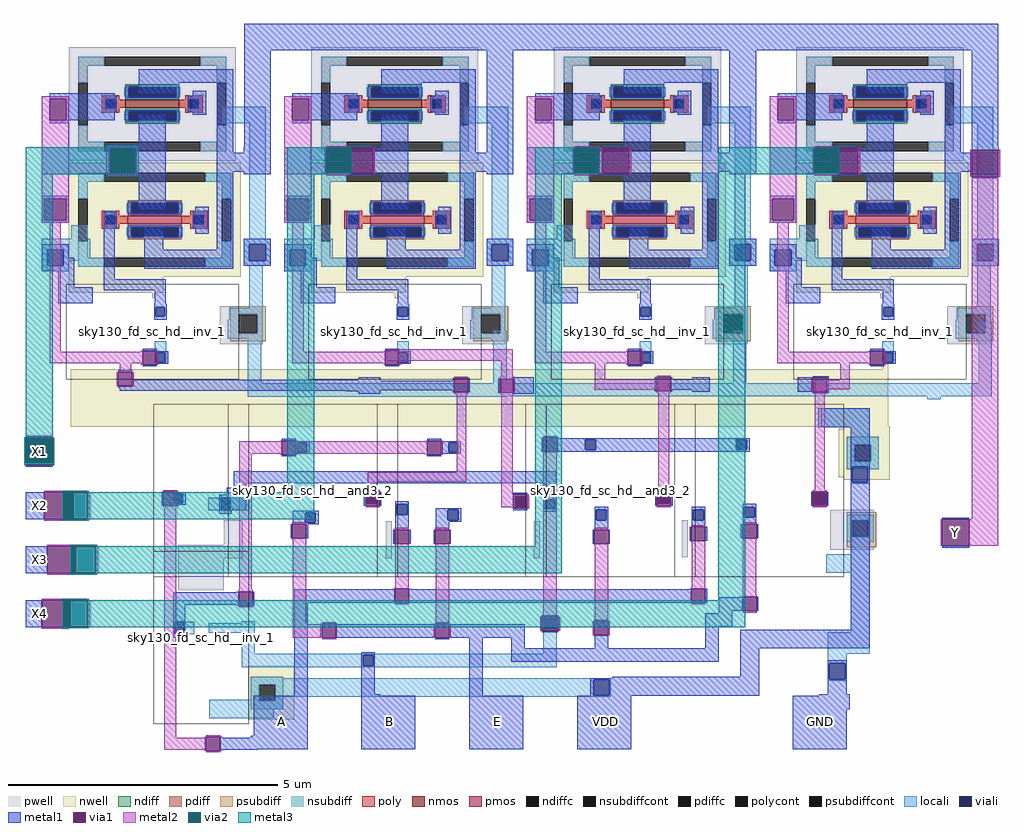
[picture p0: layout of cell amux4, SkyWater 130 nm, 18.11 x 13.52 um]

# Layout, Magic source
magic
tech sky130A
magscale 1 2
<< nwell >>
rect 3980 -744 4000 -720
rect 968 -956 4000 -744
rect 3980 -970 4000 -956
<< locali >>
rect 1625 -795 1675 -630
rect 2535 -795 2585 -601
rect 1625 -796 2585 -795
rect 3426 -796 3474 -600
rect 4336 -796 4384 -568
rect 1625 -844 4384 -796
rect 1625 -845 2585 -844
rect 4145 -855 4195 -844
<< metal1 >>
rect 1611 440 4409 539
rect 1611 -19 1710 440
rect 1990 80 2090 86
rect 2511 -19 2610 440
rect 2940 80 3040 86
rect 1990 -26 2090 -20
rect 3410 -20 3510 440
rect 3790 80 3890 86
rect 2940 -26 3040 -20
rect 3790 -26 3890 -20
rect 4310 70 4409 440
rect 4310 -35 4409 -29
rect 1144 -754 1196 -748
rect 1196 -806 2092 -782
rect 1144 -812 2092 -806
rect 1149 -824 2092 -812
rect 1989 -825 2092 -824
rect 800 -1000 900 -994
rect 800 -1106 900 -1100
rect 800 -1300 870 -1200
rect 970 -1300 976 -1200
rect 4201 -1300 4300 -1294
rect 4200 -1399 4201 -1300
rect 4200 -1400 4300 -1399
rect 800 -1500 880 -1400
rect 980 -1500 986 -1400
rect 4201 -1405 4300 -1400
rect 800 -1700 860 -1600
rect 960 -1700 966 -1600
rect 1700 -2100 1800 -2000
rect 2100 -2100 2200 -2000
rect 2500 -2100 2600 -2000
rect 2900 -2100 3000 -2000
rect 3700 -2100 3800 -2000
<< via1 >>
rect 1110 -20 1210 80
rect 1990 -20 2090 80
rect 2940 -20 3040 80
rect 3790 -20 3890 80
rect 4310 -29 4409 70
rect 1144 -806 1196 -754
rect 800 -1100 900 -1000
rect 870 -1300 970 -1200
rect 4201 -1399 4300 -1300
rect 880 -1500 980 -1400
rect 860 -1700 960 -1600
<< metal2 >>
rect 1100 80 1220 90
rect 1915 80 2005 84
rect 2835 80 2925 84
rect 3725 80 3815 84
rect 1100 -20 1110 80
rect 1210 -20 1220 80
rect 1910 75 1990 80
rect 1910 -15 1915 75
rect 1910 -20 1990 -15
rect 2090 -20 2096 80
rect 2830 75 2940 80
rect 2830 -15 2835 75
rect 2925 -15 2940 75
rect 2830 -20 2940 -15
rect 3040 -20 3046 80
rect 3720 75 3790 80
rect 3720 -15 3725 75
rect 3720 -20 3790 -15
rect 3890 -20 3896 80
rect 1100 -30 1220 -20
rect 1915 -24 2005 -20
rect 2835 -24 2925 -20
rect 3725 -24 3815 -20
rect 4304 -29 4310 70
rect 4409 -29 4415 70
rect 1149 -754 1191 -699
rect 2139 -711 2607 -669
rect 1138 -806 1144 -754
rect 1196 -806 1202 -754
rect 2565 -891 2607 -711
rect 2911 -781 2950 -691
rect 2911 -820 3187 -781
rect 3822 -782 3858 -692
rect 3148 -879 3187 -820
rect 3728 -818 3858 -782
rect 3728 -868 3764 -818
rect 800 -1000 900 -991
rect 794 -1100 800 -1000
rect 900 -1100 906 -1000
rect 870 -1200 970 -1194
rect 1030 -1300 1039 -1200
rect 4310 -1300 4409 -29
rect 870 -1306 970 -1300
rect 880 -1400 980 -1394
rect 4195 -1399 4201 -1300
rect 4300 -1399 4409 -1300
rect 1060 -1500 1069 -1400
rect 880 -1506 980 -1500
rect 860 -1600 960 -1594
rect 1030 -1700 1039 -1600
rect 860 -1706 960 -1700
<< via2 >>
rect 1115 -15 1205 75
rect 1915 -15 1990 75
rect 1990 -15 2005 75
rect 2835 -15 2925 75
rect 3725 -15 3790 75
rect 3790 -15 3815 75
rect 800 -1090 900 -1000
rect 940 -1300 970 -1200
rect 970 -1300 1030 -1200
rect 970 -1500 980 -1400
rect 980 -1500 1060 -1400
rect 940 -1700 960 -1600
rect 960 -1700 1030 -1600
<< metal3 >>
rect 1100 80 1220 90
rect 800 75 1220 80
rect 800 -15 1115 75
rect 1205 -15 1220 75
rect 800 -20 1220 -15
rect 800 -995 900 -20
rect 1100 -30 1220 -20
rect 1770 75 2010 80
rect 1770 -15 1915 75
rect 2005 -15 2010 75
rect 1770 -20 2010 -15
rect 2690 75 2930 80
rect 2690 -15 2835 75
rect 2925 -15 2930 75
rect 2690 -20 2930 -15
rect 3370 75 3820 80
rect 3370 -15 3725 75
rect 3815 -15 3820 75
rect 3370 -20 3820 -15
rect 795 -1000 905 -995
rect 795 -1090 800 -1000
rect 900 -1090 905 -1000
rect 795 -1095 905 -1090
rect 935 -1200 1035 -1195
rect 1770 -1200 1870 -20
rect 935 -1300 940 -1200
rect 1030 -1300 1870 -1200
rect 935 -1305 1035 -1300
rect 965 -1400 1065 -1395
rect 2690 -1400 2790 -20
rect 965 -1500 970 -1400
rect 1060 -1500 2790 -1400
rect 965 -1505 1065 -1500
rect 935 -1600 1035 -1595
rect 3370 -1600 3470 -20
rect 935 -1700 940 -1600
rect 1030 -1700 3470 -1600
rect 935 -1705 1035 -1700
use decoder2_4  x1
transform 1 0 446 0 1 -754
box 830 -1411 3560 92
use transmition_gate  x2
transform 1 0 -140 0 1 700
box 1000 -1480 1850 -248
use transmition_gate  x3
transform 1 0 760 0 1 700
box 1000 -1480 1850 -248
use transmition_gate  x4
transform 1 0 1660 0 1 700
box 1000 -1480 1850 -248
use transmition_gate  x5
transform 1 0 2560 0 1 700
box 1000 -1480 1850 -248
<< labels >>
flabel metal1 2500 -2100 2600 -2000 0 FreeSans 1600 0 0 0 E
port 3 nsew
flabel metal1 2100 -2100 2200 -2000 0 FreeSans 1600 0 0 0 B
port 2 nsew
flabel metal1 1700 -2100 1800 -2000 0 FreeSans 1600 0 0 0 A
port 1 nsew
flabel metal1 2900 -2100 3000 -2000 0 FreeSans 1600 0 0 0 VDD
port 7 nsew
flabel metal1 3700 -2100 3800 -2000 0 FreeSans 1600 0 0 0 GND
port 8 nsew
flabel via1 800 -1100 900 -1000 0 FreeSans 1600 0 0 0 X1
port 0 nsew
flabel metal1 800 -1300 900 -1200 0 FreeSans 1600 0 0 0 X2
port 4 nsew
flabel metal1 800 -1500 900 -1400 0 FreeSans 1600 0 0 0 X3
port 6 nsew
flabel metal1 800 -1700 900 -1600 0 FreeSans 1600 0 0 0 X4
port 9 nsew
flabel metal1 4200 -1400 4300 -1300 0 FreeSans 1600 0 0 0 Y
port 5 nsew
<< end >>

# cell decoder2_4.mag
magic
tech sky130A
magscale 1 2
<< nwell >>
rect 3304 -76 3334 -16
rect 3390 -210 3560 -200
rect 3370 -390 3560 -210
rect 3390 -400 3560 -390
rect 1180 -1290 1350 -1090
<< pwell >>
rect 3340 -520 3500 -510
rect 1090 -640 1160 -550
rect 920 -690 1160 -640
rect 1690 -690 1712 -554
rect 2240 -690 2262 -554
rect 2788 -686 2810 -550
rect 3340 -650 3510 -520
rect 3340 -660 3500 -650
rect 920 -810 1090 -690
<< psubdiff >>
rect 3400 -550 3510 -520
rect 3400 -610 3420 -550
rect 3480 -610 3510 -550
rect 3400 -650 3510 -610
<< nsubdiff >>
rect 3400 -270 3520 -240
rect 3400 -330 3430 -270
rect 3490 -330 3520 -270
rect 3400 -360 3520 -330
rect 1190 -1160 1310 -1130
rect 1190 -1220 1220 -1160
rect 1280 -1220 1310 -1160
rect 1190 -1250 1310 -1220
<< psubdiffcont >>
rect 3420 -610 3480 -550
<< nsubdiffcont >>
rect 3430 -330 3490 -270
rect 1220 -1220 1280 -1160
<< locali >>
rect 3295 -205 3485 -135
rect 3415 -240 3485 -205
rect 3400 -270 3520 -240
rect 3400 -330 3430 -270
rect 3490 -330 3520 -270
rect 3400 -351 3520 -330
rect 3400 -360 3421 -351
rect 3415 -409 3421 -360
rect 3479 -360 3520 -351
rect 3479 -409 3485 -360
rect 3415 -415 3485 -409
rect 1032 -513 1079 -467
rect 1113 -513 1183 -467
rect 3400 -550 3500 -530
rect 3400 -610 3420 -550
rect 3480 -610 3500 -550
rect 3400 -630 3500 -610
rect 3415 -675 3485 -630
rect 3325 -745 3485 -675
rect 941 -973 980 -927
rect 1155 -932 1205 -925
rect 1033 -967 1205 -932
rect 1155 -1045 1205 -967
rect 2275 -1045 2325 -953
rect 3415 -965 3485 -745
rect 1155 -1051 2325 -1045
rect 1155 -1089 1606 -1051
rect 1644 -1089 2325 -1051
rect 1155 -1095 2325 -1089
rect 3330 -1045 3485 -965
rect 3330 -1081 3400 -1045
rect 1190 -1135 1310 -1130
rect 1190 -1141 2525 -1135
rect 1190 -1160 2461 -1141
rect 1190 -1215 1220 -1160
rect 1035 -1220 1220 -1215
rect 1280 -1199 2461 -1160
rect 2519 -1199 2525 -1141
rect 3330 -1139 3336 -1081
rect 3394 -1139 3400 -1081
rect 3330 -1145 3400 -1139
rect 1280 -1205 2525 -1199
rect 1280 -1220 1310 -1205
rect 1035 -1250 1310 -1220
rect 1035 -1285 1275 -1250
<< viali >>
rect 1363 -297 1397 -263
rect 1923 -297 1957 -263
rect 2431 -289 2469 -251
rect 2991 -289 3029 -251
rect 3421 -409 3479 -351
rect 903 -486 937 -452
rect 1079 -513 1113 -467
rect 1621 -489 1661 -449
rect 1391 -559 1429 -521
rect 1731 -529 1769 -491
rect 2170 -500 2210 -460
rect 2283 -507 2317 -473
rect 2702 -489 2742 -449
rect 3280 -490 3320 -450
rect 1921 -549 1959 -511
rect 2471 -549 2509 -511
rect 2831 -549 2869 -511
rect 3021 -539 3059 -501
rect 907 -973 941 -927
rect 2275 -953 2325 -915
rect 1606 -1089 1644 -1051
rect 2461 -1199 2519 -1141
rect 3336 -1139 3394 -1081
<< metal1 >>
rect 1590 -32 1670 -20
rect 1938 -32 1944 -23
rect 1590 -67 1944 -32
rect 1590 -80 1670 -67
rect 1938 -75 1944 -67
rect 1996 -75 2002 -23
rect 2160 -24 2240 -20
rect 2108 -76 2114 -24
rect 2166 -76 2240 -24
rect 2689 -71 2695 -19
rect 2747 -26 2753 -19
rect 3274 -20 3334 -16
rect 2828 -26 2892 -20
rect 2747 -65 2892 -26
rect 2747 -71 2753 -65
rect 2828 -72 2892 -65
rect 3218 -72 3274 -20
rect 3326 -72 3334 -20
rect 2160 -80 2240 -76
rect 3274 -76 3334 -72
rect 3274 -78 3326 -76
rect 3305 -205 3485 -135
rect 1304 -254 1356 -248
rect 1844 -254 1896 -248
rect 1356 -263 1409 -257
rect 1356 -297 1363 -263
rect 1397 -297 1409 -263
rect 1356 -303 1409 -297
rect 1304 -312 1356 -306
rect 1896 -263 1969 -257
rect 1896 -297 1923 -263
rect 1957 -297 1969 -263
rect 2268 -296 2274 -244
rect 2326 -245 2332 -244
rect 2326 -251 3041 -245
rect 2326 -289 2431 -251
rect 2469 -289 2991 -251
rect 3029 -289 3041 -251
rect 2326 -295 3041 -289
rect 2326 -296 2332 -295
rect 1896 -303 1969 -297
rect 1844 -312 1896 -306
rect 3415 -351 3485 -205
rect 1127 -413 2323 -367
rect 1127 -430 1173 -413
rect 859 -496 865 -444
rect 917 -446 923 -444
rect 917 -452 949 -446
rect 937 -486 949 -452
rect 1100 -455 1173 -430
rect 917 -492 949 -486
rect 1073 -467 1173 -455
rect 917 -496 923 -492
rect 1073 -513 1079 -467
rect 1113 -513 1173 -467
rect 1609 -495 1615 -443
rect 1667 -495 1673 -443
rect 2164 -454 2216 -448
rect 1725 -491 1775 -479
rect 1073 -525 1119 -513
rect 1345 -521 1441 -515
rect 1345 -559 1391 -521
rect 1429 -559 1441 -521
rect 1345 -564 1441 -559
rect 1338 -616 1344 -564
rect 1396 -565 1441 -564
rect 1725 -529 1731 -491
rect 1769 -529 1775 -491
rect 1396 -616 1402 -565
rect 1725 -584 1775 -529
rect 1875 -511 1971 -505
rect 1875 -549 1921 -511
rect 1959 -549 1971 -511
rect 2164 -512 2216 -506
rect 2277 -473 2323 -413
rect 3415 -409 3421 -351
rect 3479 -409 3485 -351
rect 2277 -507 2283 -473
rect 2317 -507 2323 -473
rect 2690 -495 2696 -443
rect 2748 -495 2754 -443
rect 2277 -519 2323 -507
rect 2465 -511 2515 -499
rect 1875 -555 1971 -549
rect 2465 -549 2471 -511
rect 2509 -549 2515 -511
rect 1875 -584 1925 -555
rect 2465 -584 2515 -549
rect 2825 -511 2875 -499
rect 2825 -549 2831 -511
rect 2869 -549 2875 -511
rect 2825 -574 2875 -549
rect 3015 -501 3065 -489
rect 3268 -496 3274 -444
rect 3326 -496 3332 -444
rect 3015 -539 3021 -501
rect 3059 -539 3065 -501
rect 3015 -564 3065 -539
rect 1718 -636 1724 -584
rect 1776 -636 1782 -584
rect 1868 -636 1874 -584
rect 1926 -636 1932 -584
rect 2458 -636 2464 -584
rect 2516 -636 2522 -584
rect 2818 -626 2824 -574
rect 2876 -626 2882 -574
rect 3008 -616 3014 -564
rect 3066 -616 3072 -564
rect 1718 -805 1724 -804
rect 1138 -817 1144 -814
rect 901 -863 1144 -817
rect 901 -927 947 -863
rect 1138 -866 1144 -863
rect 1196 -866 1202 -814
rect 1350 -855 1724 -805
rect 901 -973 907 -927
rect 941 -973 947 -927
rect 901 -985 947 -973
rect 1350 -1200 1400 -855
rect 1718 -856 1724 -855
rect 1776 -805 1782 -804
rect 2818 -805 2824 -804
rect 1776 -855 2824 -805
rect 1776 -856 1782 -855
rect 2818 -856 2824 -855
rect 2876 -856 2882 -804
rect 3008 -835 3014 -834
rect 2925 -885 3014 -835
rect 2925 -895 2975 -885
rect 3008 -886 3014 -885
rect 3066 -886 3072 -834
rect 2269 -908 2331 -902
rect 1874 -934 1926 -928
rect 1448 -986 1454 -934
rect 1506 -935 1512 -934
rect 1506 -985 1874 -935
rect 1506 -986 1512 -985
rect 1926 -985 2205 -935
rect 2263 -959 2269 -909
rect 2331 -959 2337 -909
rect 2464 -924 2516 -918
rect 2269 -966 2331 -960
rect 2464 -982 2516 -976
rect 2875 -945 2975 -895
rect 1874 -992 1926 -986
rect 1200 -1350 1400 -1200
rect 1019 -1405 1025 -1353
rect 1077 -1357 1083 -1353
rect 1190 -1357 1400 -1350
rect 1077 -1400 1400 -1357
rect 1600 -1051 1650 -1039
rect 1600 -1089 1606 -1051
rect 1644 -1089 1650 -1051
rect 1600 -1196 1650 -1089
rect 1600 -1200 1669 -1196
rect 2000 -1200 2050 -985
rect 2155 -1025 2205 -985
rect 2465 -1025 2515 -982
rect 2875 -1025 2925 -945
rect 3415 -955 3485 -409
rect 2155 -1075 2925 -1025
rect 3005 -1025 3485 -955
rect 3005 -1130 3075 -1025
rect 2530 -1135 3075 -1130
rect 2449 -1141 3075 -1135
rect 2449 -1199 2461 -1141
rect 2519 -1199 3075 -1141
rect 3330 -1081 3400 -1069
rect 3330 -1139 3336 -1081
rect 3394 -1139 3400 -1081
rect 3330 -1196 3400 -1139
rect 2449 -1200 3075 -1199
rect 3299 -1200 3411 -1196
rect 1600 -1400 1800 -1200
rect 2000 -1400 2200 -1200
rect 2400 -1400 2600 -1200
rect 3200 -1251 3411 -1200
rect 3200 -1400 3400 -1251
rect 1077 -1402 1213 -1400
rect 1077 -1405 1083 -1402
<< via1 >>
rect 1944 -75 1996 -23
rect 2114 -76 2166 -24
rect 2695 -71 2747 -19
rect 3274 -72 3326 -20
rect 1304 -306 1356 -254
rect 1844 -306 1896 -254
rect 2274 -296 2326 -244
rect 865 -452 917 -444
rect 865 -486 903 -452
rect 903 -486 917 -452
rect 865 -496 917 -486
rect 1615 -449 1667 -443
rect 1615 -489 1621 -449
rect 1621 -489 1661 -449
rect 1661 -489 1667 -449
rect 1615 -495 1667 -489
rect 2164 -460 2216 -454
rect 1344 -616 1396 -564
rect 2164 -500 2170 -460
rect 2170 -500 2210 -460
rect 2210 -500 2216 -460
rect 2164 -506 2216 -500
rect 2696 -449 2748 -443
rect 2696 -489 2702 -449
rect 2702 -489 2742 -449
rect 2742 -489 2748 -449
rect 2696 -495 2748 -489
rect 3274 -450 3326 -444
rect 3274 -490 3280 -450
rect 3280 -490 3320 -450
rect 3320 -490 3326 -450
rect 3274 -496 3326 -490
rect 1724 -636 1776 -584
rect 1874 -636 1926 -584
rect 2464 -636 2516 -584
rect 2824 -626 2876 -574
rect 3014 -616 3066 -564
rect 1144 -866 1196 -814
rect 1724 -856 1776 -804
rect 2824 -856 2876 -804
rect 3014 -886 3066 -834
rect 1454 -986 1506 -934
rect 1874 -986 1926 -934
rect 2269 -915 2331 -908
rect 2269 -953 2275 -915
rect 2275 -953 2325 -915
rect 2325 -953 2331 -915
rect 2269 -960 2331 -953
rect 2464 -976 2516 -924
rect 1025 -1405 1077 -1353
<< metal2 >>
rect 1944 -23 1996 -17
rect 1944 -81 1996 -75
rect 2114 -24 2166 -18
rect 1298 -257 1304 -254
rect 1147 -303 1304 -257
rect 865 -444 917 -438
rect 865 -502 917 -496
rect 868 -1356 913 -502
rect 1147 -808 1193 -303
rect 1298 -306 1304 -303
rect 1356 -257 1362 -254
rect 1838 -257 1844 -254
rect 1356 -303 1844 -257
rect 1356 -306 1362 -303
rect 1838 -306 1844 -303
rect 1896 -306 1902 -254
rect 1953 -372 1988 -81
rect 2114 -82 2166 -76
rect 2695 -19 2747 -13
rect 2695 -77 2747 -71
rect 3268 -72 3274 -20
rect 3326 -72 3332 -20
rect 1623 -407 1988 -372
rect 1623 -437 1658 -407
rect 1615 -443 1667 -437
rect 1615 -501 1667 -495
rect 2119 -454 2161 -82
rect 2274 -244 2326 -238
rect 2274 -302 2326 -296
rect 2119 -501 2164 -454
rect 2158 -506 2164 -501
rect 2216 -506 2222 -454
rect 1344 -564 1396 -558
rect 1344 -622 1396 -616
rect 1724 -584 1776 -578
rect 1144 -814 1196 -808
rect 1144 -872 1196 -866
rect 1345 -935 1395 -622
rect 1724 -642 1776 -636
rect 1874 -584 1926 -578
rect 1874 -642 1926 -636
rect 1725 -798 1775 -642
rect 1724 -804 1776 -798
rect 1724 -862 1776 -856
rect 1454 -934 1506 -928
rect 1875 -934 1925 -642
rect 2275 -908 2325 -302
rect 2702 -437 2741 -77
rect 2696 -443 2748 -437
rect 3282 -438 3318 -72
rect 2696 -501 2748 -495
rect 3274 -444 3326 -438
rect 3274 -502 3326 -496
rect 3014 -564 3066 -558
rect 2824 -574 2876 -568
rect 2464 -584 2516 -578
rect 3014 -622 3066 -616
rect 2824 -632 2876 -626
rect 2464 -642 2516 -636
rect 1345 -985 1454 -935
rect 1868 -986 1874 -934
rect 1926 -986 1932 -934
rect 2263 -960 2269 -908
rect 2331 -960 2337 -908
rect 2465 -924 2515 -642
rect 2825 -798 2875 -632
rect 2824 -804 2876 -798
rect 3015 -828 3065 -622
rect 2824 -862 2876 -856
rect 3014 -834 3066 -828
rect 3014 -892 3066 -886
rect 2458 -976 2464 -924
rect 2516 -976 2522 -924
rect 1454 -992 1506 -986
rect 1025 -1353 1077 -1347
rect 868 -1401 1025 -1356
rect 1025 -1411 1077 -1405
use sky130_fd_sc_hd__and3_2  x1 pdks/sky130A/libs.ref/sky130_fd_sc_hd/mag
transform 1 0 1144 0 1 -712
box -38 -48 590 592
use sky130_fd_sc_hd__and3_2  x2
transform 1 0 1696 0 1 -712
box -38 -48 590 592
use sky130_fd_sc_hd__and3_2  x3
transform 1 0 2248 0 1 -712
box -38 -48 590 592
use sky130_fd_sc_hd__and3_2  x4
transform 1 0 2800 0 1 -712
box -38 -48 590 592
use sky130_fd_sc_hd__inv_1  x5 pdks/sky130A/libs.ref/sky130_fd_sc_hd/mag
transform -1 0 1144 0 -1 -712
box -38 -48 314 592
use sky130_fd_sc_hd__inv_1  x6
transform 1 0 868 0 1 -712
box -38 -48 314 592
<< labels >>
flabel metal1 2000 -1400 2200 -1200 0 FreeSans 1600 0 0 0 E
port 6 nsew
flabel metal1 2400 -1400 2505 -1200 0 FreeSans 1600 0 0 0 VDD
port 7 nsew
flabel metal1 3200 -1400 3400 -1200 0 FreeSans 1600 0 0 0 GND
port 8 nsew
flabel metal1 1600 -1400 1800 -1200 0 FreeSans 1600 0 0 0 B
port 1 nsew
flabel metal1 1200 -1400 1400 -1200 0 FreeSans 1600 0 0 0 A
port 0 nsew
flabel metal1 1604 -76 1648 -32 0 FreeSans 400 0 0 0 Y1
port 2 nsew
flabel metal1 2164 -76 2208 -32 0 FreeSans 400 0 0 0 Y2
port 3 nsew
flabel metal1 2834 -66 2878 -22 0 FreeSans 400 0 0 0 Y3
port 4 nsew
flabel metal1 3224 -66 3268 -22 0 FreeSans 400 0 0 0 Y4
port 5 nsew
<< end >>

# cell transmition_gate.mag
magic
tech sky130A
magscale 1 2
<< nwell >>
rect 1100 -1100 1420 -1090
rect 1100 -1160 1450 -1100
rect 1410 -1180 1420 -1160
<< pwell >>
rect 1660 -1350 1820 -1210
<< psubdiff >>
rect 1700 -1240 1830 -1210
rect 1700 -1310 1730 -1240
rect 1800 -1310 1830 -1240
rect 1700 -1340 1830 -1310
<< psubdiffcont >>
rect 1730 -1310 1800 -1240
<< locali >>
rect 1670 -530 1830 -470
rect 1110 -960 1170 -910
rect 1770 -960 1830 -530
rect 1000 -1000 1180 -960
rect 1000 -1060 1020 -1000
rect 1080 -1040 1180 -1000
rect 1750 -980 1850 -960
rect 1750 -1040 1770 -980
rect 1830 -1040 1850 -980
rect 1080 -1060 1100 -1040
rect 1750 -1060 1850 -1040
rect 1000 -1080 1100 -1060
rect 1770 -1215 1820 -1060
rect 1695 -1240 1820 -1215
rect 1695 -1260 1730 -1240
rect 1690 -1310 1730 -1260
rect 1800 -1310 1820 -1240
rect 1690 -1330 1820 -1310
rect 1770 -1335 1820 -1330
rect 1419 -1383 1461 -1339
rect 1419 -1417 1423 -1383
rect 1457 -1417 1461 -1383
rect 1419 -1421 1461 -1417
<< viali >>
rect 1020 -1060 1080 -1000
rect 1770 -1040 1830 -980
rect 1423 -1247 1457 -1213
rect 1423 -1417 1457 -1383
<< metal1 >>
rect 1360 -380 1710 -330
rect 1360 -420 1510 -380
rect 1030 -440 1270 -420
rect 1090 -520 1270 -440
rect 1560 -500 1610 -410
rect 1030 -530 1100 -520
rect 1360 -620 1460 -500
rect 1000 -720 1460 -620
rect 1000 -810 1100 -800
rect 1000 -890 1010 -810
rect 1090 -890 1100 -810
rect 1360 -850 1460 -720
rect 1650 -640 1710 -380
rect 1750 -640 1850 -620
rect 1650 -710 1850 -640
rect 1000 -900 1100 -890
rect 1000 -1000 1100 -980
rect 1000 -1060 1020 -1000
rect 1080 -1030 1100 -1000
rect 1080 -1060 1120 -1030
rect 1000 -1080 1120 -1060
rect 1061 -1140 1120 -1080
rect 1230 -1110 1270 -860
rect 1380 -1000 1450 -920
rect 1570 -940 1620 -840
rect 1650 -1000 1710 -710
rect 1750 -720 1850 -710
rect 1380 -1070 1710 -1000
rect 1750 -980 1850 -960
rect 1750 -1040 1770 -980
rect 1830 -1040 1850 -980
rect 1750 -1060 1850 -1040
rect 1061 -1199 1189 -1140
rect 1230 -1150 1460 -1110
rect 1420 -1201 1460 -1150
rect 1417 -1213 1463 -1201
rect 1417 -1247 1423 -1213
rect 1457 -1247 1463 -1213
rect 1417 -1259 1463 -1247
rect 1374 -1374 1426 -1368
rect 1426 -1383 1469 -1377
rect 1457 -1417 1469 -1383
rect 1426 -1423 1469 -1417
rect 1374 -1432 1426 -1426
<< via1 >>
rect 1030 -520 1090 -440
rect 1010 -890 1090 -810
rect 1374 -1383 1426 -1374
rect 1374 -1417 1423 -1383
rect 1423 -1417 1426 -1383
rect 1374 -1426 1426 -1417
<< metal2 >>
rect 1000 -440 1100 -430
rect 1000 -520 1030 -440
rect 1090 -520 1100 -440
rect 1000 -810 1100 -520
rect 1000 -890 1010 -810
rect 1090 -890 1100 -810
rect 1000 -900 1100 -890
rect 1029 -1379 1071 -900
rect 1368 -1379 1374 -1374
rect 1029 -1421 1374 -1379
rect 1368 -1426 1374 -1421
rect 1426 -1426 1432 -1374
use sky130_fd_sc_hd__inv_1  x1 $PDKPATH/libs.ref/sky130_fd_sc_hd/mag
transform 0 -1 1682 1 0 -1442
box -38 -48 314 592
use sky130_fd_pr__pfet_01v8_7HN6Y2  XM2
transform 0 1 1419 -1 0 -889
box -211 -319 211 319
use sky130_fd_pr__nfet_01v8_34VMYE  XM3
transform 0 1 1410 -1 0 -459
box -211 -310 211 310
<< labels >>
flabel metal1 1000 -720 1100 -620 0 FreeSans 160 0 0 0 IN
port 2 nsew
flabel metal1 1000 -900 1100 -800 0 FreeSans 160 0 0 0 CONTROL
port 0 nsew
flabel metal1 1750 -720 1850 -620 0 FreeSans 160 0 0 0 OUT
port 1 nsew
flabel metal1 1750 -1060 1760 -960 0 FreeSans 160 0 0 0 GND
port 4 nsew
flabel metal1 1000 -1080 1070 -980 0 FreeSans 160 0 0 0 VDD
port 3 nsew
<< end >>

# cell sky130_fd_pr__pfet_01v8_7HN6Y2: kit device sky130_fd_pr__pfet_01v8, w 1.0 l 0.15 m 1 nf 1 diffcov 100 polycov 100 guard 1 glc 1 grc 1 gtc 1 gbc 1 tbcov 100 rlcov 100 topc 1 botc 1 poverlap 0 doverlap 1 lmin 0.15 wmin 0.42 class mosfet compatible {sky130_fd_pr__pfet_01v8 sky130_fd_pr__pfet_01v8_lvt sky130_fd_pr__pfet_01v8_hvt sky130_fd_pr__pfet_g5v0d10v5} full_metal 1 conn_gates 0 viasrc 100 viadrn 100 viagate 100 viagb 0 viagr 0 viagl 0 viagt 0 doports 1

# cell sky130_fd_pr__nfet_01v8_34VMYE: kit device sky130_fd_pr__nfet_01v8, w 1.0 l 0.15 m 1 nf 1 diffcov 100 polycov 100 guard 1 glc 1 grc 1 gtc 1 gbc 1 tbcov 100 rlcov 100 topc 1 botc 1 poverlap 0 doverlap 1 lmin 0.15 wmin 0.42 class mosfet compatible {sky130_fd_pr__nfet_01v8 sky130_fd_pr__nfet_01v8_lvt sky130_fd_bs_flash__special_sonosfet_star sky130_fd_pr__nfet_g5v0d10v5 sky130_fd_pr__nfet_05v0_nvt sky130_fd_pr__nfet_03v3_nvt} full_metal 1 conn_gates 0 viasrc 100 viadrn 100 viagate 100 viagb 0 viagr 0 viagl 0 viagt 0 doports 1
